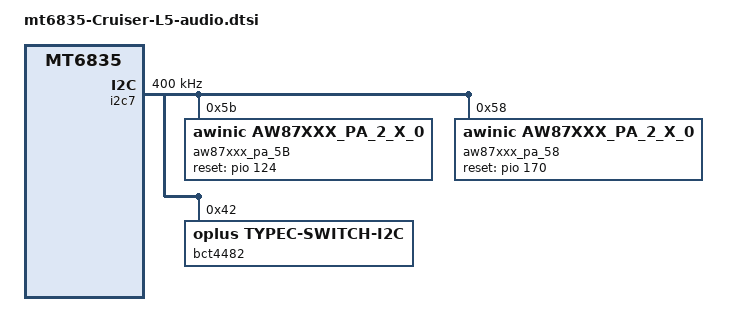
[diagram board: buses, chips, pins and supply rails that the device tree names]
/* Copyright (c) 2018, The Linux Foundation. All rights reserved.
 *
 * This program is free software; you can redistribute it and/or modify
 * it under the terms of the GNU General Public License version 2 and
 * only version 2 as published by the Free Software Foundation.
 *
 * This program is distributed in the hope that it will be useful,
 * but WITHOUT ANY WARRANTY; without even the implied warranty of
 * MERCHANTABILITY or FITNESS FOR A PARTICULAR PURPOSE.  See the
 * GNU General Public License for more details.
 */
&i2c7 {
	#address-cells = <1>;
	#size-cells = <0>;
	clock-frequency = <400000>;

	aw87xxx_pa_5B@5B {
		compatible = "awinic,aw87xxx_pa_2_x_0";
		reg = <0x5B>;
		reset-gpio = <&pio 124 0>;
		dev_index = < 0 >;
		status = "okay";
	};
	aw87xxx_pa_58@58 {
		compatible = "awinic,aw87xxx_pa_2_x_0";
		reg = <0x58>;
		reset-gpio = <&pio 170 0>;
		dev_index = < 1 >;
		status = "okay";
	};

	bct4482: bct4482@42 {
		compatible = "oplus,typec-switch-i2c";
		reg = <0x42>;
		pinctrl-names = "default";
		oplus,hp-bypass = <1>;
		status = "okay";
	};
};

&sound {
	/* 2024/5/28, add for dual PA special dapm handle to resolve pop sound when PA closing */
	oplus,special-pa-dapm = <1>;
};

&accdet{
	// eint_use_ext_res = <1>;
	// headset-eint-trig-mode = <2>;
	headset-three-key-threshold = <0 82 170 306>;
	hp-eint0-disable = <1>;
	headset-eint0-disable = <1>;
	hp-plug-in-check = <1>;
};

&speech_usip_mem{
	adsp-phone-call-enh-enable = <0x5>;
};

&scp {
	reg =	<0 0x1c400000 0 0x100000>, /* tcm */
			<0 0x1c724000 0 0x1000>, /* cfg */
			<0 0x1c721000 0 0x1000>, /* clk*/
			<0 0x1c730000 0 0x1000>, /* cfg core0 */
			<0 0x1c740000 0 0x1000>, /* cfg core1 */
			<0 0x1c752000 0 0x1000>, /* bus tracker */
			<0 0x1c760000 0 0x40000>, /* llc */
			<0 0x1c7a5000 0 0x4>, /* cfg_sec */
			<0 0x1c7fb000 0 0x100>, /* mbox0 base */
			<0 0x1c7fb100 0 0x4>, /* mbox0 set */
			<0 0x1c7fb10c 0 0x4>, /* mbox0 clr */
			<0 0x1c7a5020 0 0x4>, /* mbox0 init */
			<0 0x1c7fc000 0 0x100>, /* mbox1 base */
			<0 0x1c7fc100 0 0x4>, /* mbox1 set */
			<0 0x1c7fc10c 0 0x4>, /* mbox1 clr */
			<0 0x1c7a5024 0 0x4>, /* mbox1 init */
			<0 0x1c7fd000 0 0x100>, /* mbox2 base */
			<0 0x1c7fd100 0 0x4>, /* mbox2 set */
			<0 0x1c7fd10c 0 0x4>, /* mbox2 clr */
			<0 0x1c7a5028 0 0x4>, /* mbox2 init */
			<0 0x1c7fe000 0 0x100>, /* mbox3 base */
			<0 0x1c7fe100 0 0x4>, /* mbox3 set */
			<0 0x1c7fe10c 0 0x4>, /* mbox3 clr */
			<0 0x1c7a502c 0 0x4>, /* mbox3 init */
			<0 0x1c7ff000 0 0x100>, /* mbox4 base */
			<0 0x1c7ff100 0 0x4>, /* mbox4 set */
			<0 0x1c7ff10c 0 0x4>, /* mbox4 clr */
			<0 0x1c7a5030 0 0x4>; /* mbox4 init */
	scp-sramsize = <0x100000>;
	secure-dump-size = <0x500000>;
	memorydump = <0x100000>, /* l2tcm */
				     <0x03c000>, /* l1c*/
				     <0x003c00>, /* regdump */
				     <0x000400>, /* trace buffer */
				     <0x300000>; /* dram */
};
